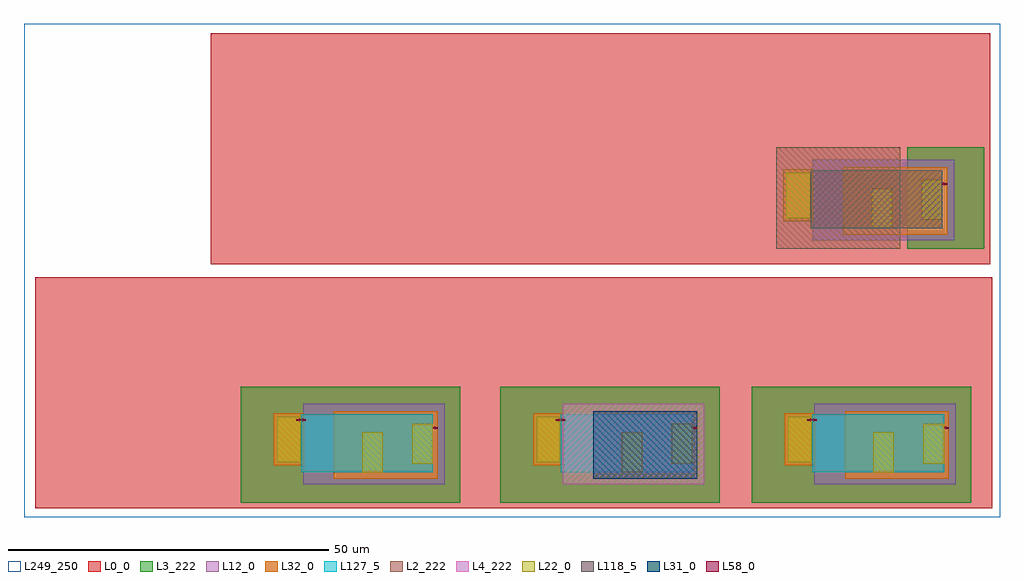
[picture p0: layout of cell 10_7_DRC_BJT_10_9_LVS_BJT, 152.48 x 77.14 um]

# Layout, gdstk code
import gdstk
lib = gdstk.Library(unit=1e-6, precision=1e-09)
def R(c, l, rs):  # rectangles x0, y0, x1, y1
    for r in rs: c.add(gdstk.rectangle(r[:2], r[2:], *l))
def P(c, l, *ps):  # polygons
    for p in ps: c.add(gdstk.Polygon(p, *l))
L0_0 = (0, 0)
L2_222 = (2, 222)
L3_222 = (3, 222)
L4_222 = (4, 222)
L12_0 = (12, 0)
L22_0 = (22, 0)
L31_0 = (31, 0)
L32_0 = (32, 0)
L58_0 = (58, 0)
L118_5 = (118, 5)
L127_5 = (127, 5)
L249_250 = (249, 250)

drc_bjt = lib.new_cell('DRC_BJT')
R(drc_bjt, L0_0, [(-149.812,0.476,-134.817,20.986), (-134.817,0.476,-0.344,20.986), (-149.812,20.986,-0.344,28.766), (-149.812,28.766,-0.344,36.546)])
R(drc_bjt, L3_222, [(-117.696,1.319,-83.452,19.438), (-77.152,1.319,-42.908,19.438), (-37.856,1.319,-3.612,19.438)])
R(drc_bjt, L4_222, [(-67.4,4.216,-45.28,16.806)])
R(drc_bjt, L12_0, [(-107.944,4.216,-85.824,16.806), (-28.104,4.216,-5.984,16.806)])
R(drc_bjt, L22_0, [(-98.749,6.076,-95.539,12.331), (-58.205,6.076,-54.995,12.331), (-18.909,6.076,-15.699,12.331), (-90.894,7.426,-87.684,13.681), (-50.35,7.426,-47.14,13.681), (-11.054,7.426,-7.844,13.681), (-87.684,12.391,-87.679,13.681), (-47.14,12.391,-47.135,13.681), (-7.844,12.391,-7.839,13.681)])
P(drc_bjt, L22_0, [(-32.204,7.656),(-32.204,14.776),(-28.504,14.776),(-28.504,14.021),(-28.509,14.021),(-28.509,7.656)],
  [(-71.5,7.656),(-71.5,14.776),(-67.8,14.776),(-67.8,14.021),(-67.805,14.021),(-67.805,7.656)],
  [(-112.044,7.656),(-112.044,14.776),(-108.344,14.776),(-108.344,14.021),(-108.349,14.021),(-108.349,7.656)])
R(drc_bjt, L31_0, [(-62.605,5.081,-46.37,15.616)])
R(drc_bjt, L32_0, [(-103.149,5.081,-86.914,15.616), (-23.309,5.081,-7.074,15.616)])
P(drc_bjt, L32_0, [(-32.704,7.156),(-32.704,15.276),(-28.004,15.276),(-28.004,13.521),(-28.009,13.521),(-28.009,7.156)],
  [(-72,7.156),(-72,15.276),(-67.3,15.276),(-67.3,13.521),(-67.305,13.521),(-67.305,7.156)],
  [(-112.544,7.156),(-112.544,15.276),(-107.844,15.276),(-107.844,13.521),(-107.849,13.521),(-107.849,7.156)])
P(drc_bjt, L58_0, [(-28.744,14.031),(-28.744,14.151),(-29.224,14.151),(-29.224,14.391),(-28.744,14.391),(-28.744,14.511),(-28.504,14.271)],
  [(-28.169,14.031),(-28.409,14.271),(-28.169,14.511),(-28.169,14.391),(-27.689,14.391),(-27.689,14.151),(-28.169,14.151)],
  [(-7.599,12.771),(-7.839,13.011),(-7.599,13.251),(-7.599,13.131),(-7.119,13.131),(-7.119,12.891),(-7.599,12.891)],
  [(-46.895,12.771),(-47.135,13.011),(-46.895,13.251),(-46.895,13.131),(-46.415,13.131),(-46.415,12.891),(-46.895,12.891)],
  [(-67.465,14.031),(-67.705,14.271),(-67.465,14.511),(-67.465,14.391),(-66.985,14.391),(-66.985,14.151),(-67.465,14.151)],
  [(-68.04,14.031),(-68.04,14.151),(-68.52,14.151),(-68.52,14.391),(-68.04,14.391),(-68.04,14.511),(-67.8,14.271)],
  [(-108.584,14.031),(-108.584,14.151),(-109.064,14.151),(-109.064,14.391),(-108.584,14.391),(-108.584,14.511),(-108.344,14.271)],
  [(-108.009,14.031),(-108.249,14.271),(-108.009,14.511),(-108.009,14.391),(-107.529,14.391),(-107.529,14.151),(-108.009,14.151)],
  [(-87.439,12.771),(-87.679,13.011),(-87.439,13.251),(-87.439,13.131),(-86.959,13.131),(-86.959,12.891),(-87.439,12.891)])
R(drc_bjt, L127_5, [(-108.249,6.076,-87.684,15.116), (-67.705,6.076,-47.14,15.116), (-28.409,6.076,-7.844,15.116)])
drc_bjt.add(gdstk.Label('BJT.1', (-5.576,1.844), layer=11, texttype=222))
drc_bjt.add(gdstk.Label('BJT.2', (-44.872,1.844), layer=11, texttype=222))
drc_bjt.add(gdstk.Label('BJT.3', (-114.861,1.844), layer=11, texttype=222))
drc_bjt.add(gdstk.Label('DRC_BJT MARKING LAYER', (-61.139,32.591), layer=58, texttype=0))
drc_bjt.add(gdstk.Label('BJT.1 Min. DRC_BJT overlap of DNWELL for NPN BJT = 0', (-1.429,26.747), layer=58, texttype=0))
drc_bjt.add(gdstk.Label('BJT.2 Min. DRC_BJT overlap of PCOMP in Psub  = 0', (-1.429,24.939), layer=58, texttype=0))
drc_bjt.add(gdstk.Label('BJT.3 Minimum space of DRC_BJT layer to unrelated COMP = 0.1', (-1.429,22.94), layer=58, texttype=0))
drc_bjt.add(gdstk.Label('2 ERRs', (-136.972,11.327), layer=58, texttype=0))

lvs_bjt = lib.new_cell('LVS_BJT')
R(lvs_bjt, L0_0, [(-122.41,38.56,-107.415,59.07), (-107.415,38.56,-0.595,59.07), (-122.41,59.07,-0.595,66.85), (-122.41,66.85,-0.595,74.63)])
R(lvs_bjt, L2_222, [(-34.052,40.95,-14.718,56.845)])
R(lvs_bjt, L3_222, [(-13.617,40.95,-1.576,56.845)])
R(lvs_bjt, L12_0, [(-28.355,42.3,-6.235,54.89)])
R(lvs_bjt, L22_0, [(-19.16,44.16,-15.95,50.415), (-11.305,45.51,-8.095,51.765), (-8.095,50.475,-8.09,51.765)])
P(lvs_bjt, L22_0, [(-32.455,45.74),(-32.455,52.86),(-28.755,52.86),(-28.755,52.105),(-28.76,52.105),(-28.76,45.74)])
R(lvs_bjt, L32_0, [(-23.56,43.165,-7.325,53.7)])
P(lvs_bjt, L32_0, [(-32.955,45.24),(-32.955,53.36),(-28.255,53.36),(-28.255,51.605),(-28.26,51.605),(-28.26,45.24)])
P(lvs_bjt, L58_0, [(-7.85,50.855),(-8.09,51.095),(-7.85,51.335),(-7.85,51.215),(-7.37,51.215),(-7.37,50.975),(-7.85,50.975)])
R(lvs_bjt, L118_5, [(-28.66,44.16,-8.095,53.2)])
lvs_bjt.add(gdstk.Label('LVS_BJT.1', (-28.391,41.206), layer=11, texttype=222))
lvs_bjt.add(gdstk.Label('LVS_BJT.1', (-2.097,41.206), layer=11, texttype=222))
lvs_bjt.add(gdstk.Label('1 ERRs', (-109.57,49.411), layer=58, texttype=0))
lvs_bjt.add(gdstk.Label('LVS_BJT.1 LVS_BJT overlap of all NPN COMP layers = 0', (-1.68,64.831), layer=58, texttype=0))
lvs_bjt.add(gdstk.Label('LVS_BJT MARKING LAYER', (-61.39,70.675), layer=58, texttype=0))

c_10_7_drc_bjt_10_9_lvs_bj = lib.new_cell('10_7_DRC_BJT_10_9_LVS_BJT')
R(c_10_7_drc_bjt_10_9_lvs_bj, L249_250, [(-152.483,0,0,77.14)])
c_10_7_drc_bjt_10_9_lvs_bj.add(gdstk.Reference(drc_bjt, (-0.905,0.974)))
c_10_7_drc_bjt_10_9_lvs_bj.add(gdstk.Reference(lvs_bjt, (-0.905,1.01)))

lib.write_gds('10_7_DRC_BJT_10_9_LVS_BJT.gds')
